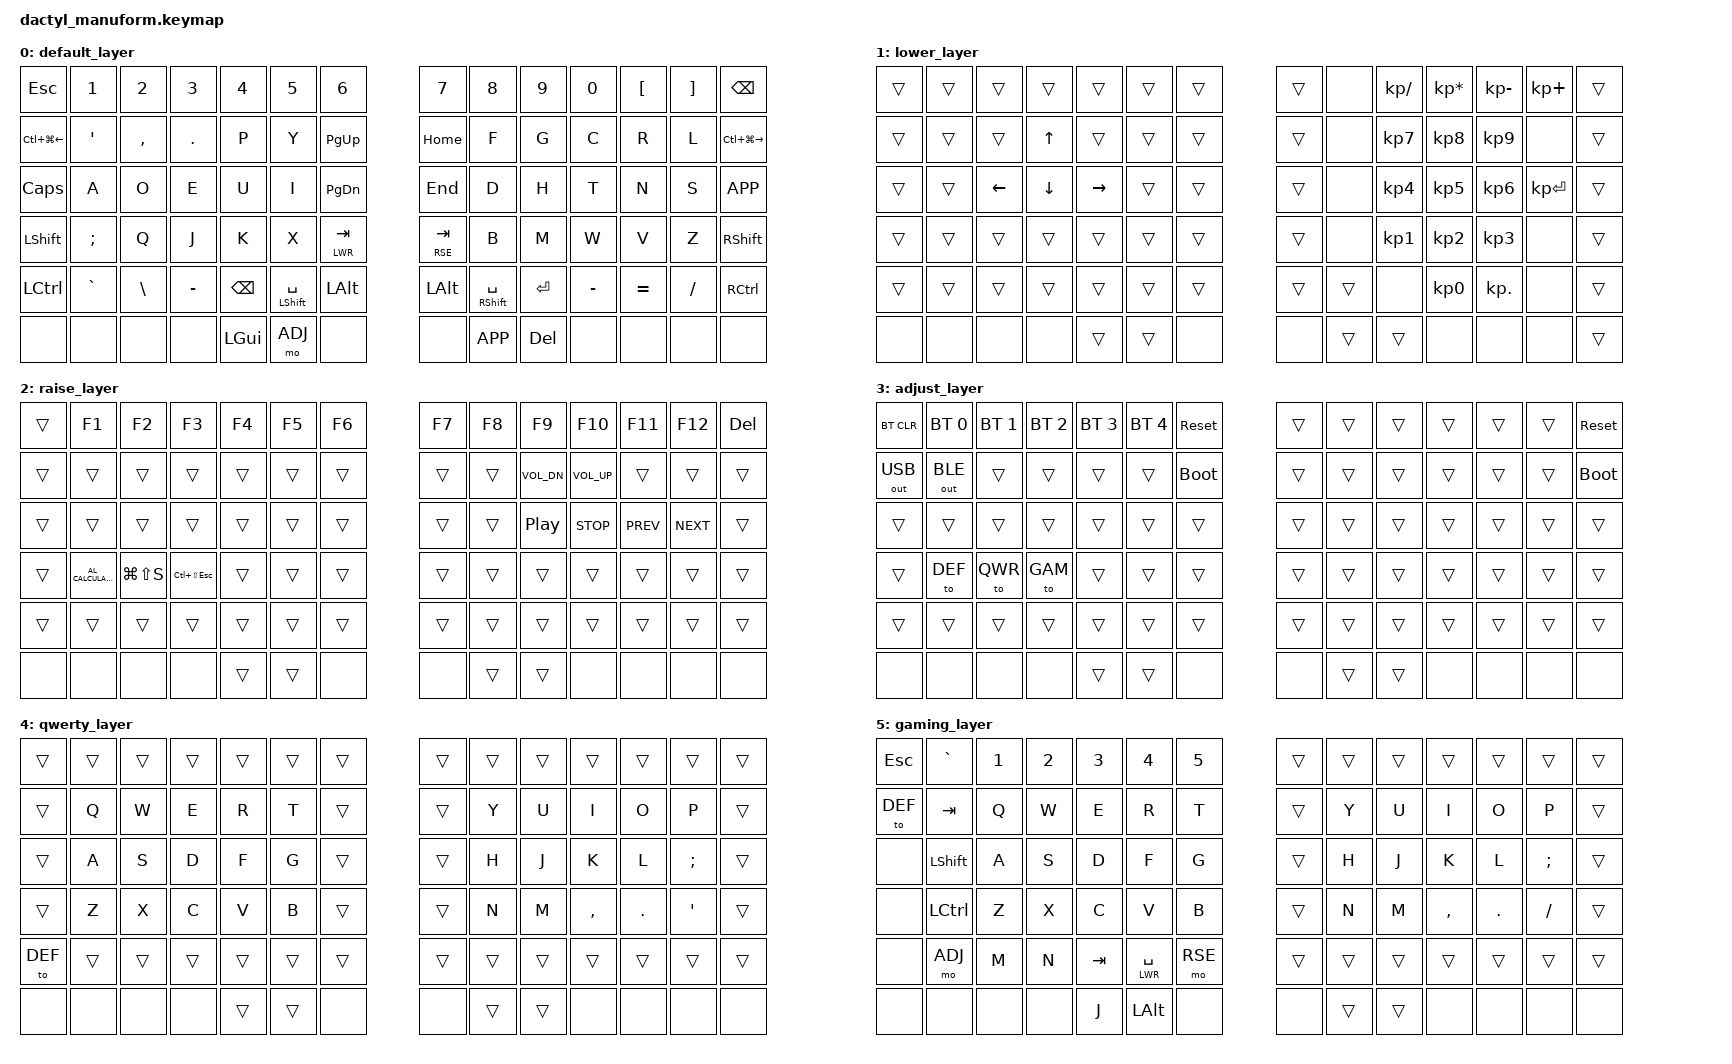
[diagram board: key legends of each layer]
/*
 * Copyright (c) 2024 The ZMK Contributors
 * SPDX-License-Identifier: MIT
 *
 * Dactyl Manuform 6x7 wireless - user-defined keymap.
 *
 * Matrix: 6 rows x 14 cols (left cols 0..6, right cols 7..13).
 * Row 5 only has switches at inner cols 4, 5, 8, 9.
 * Physical key counts per column: L=5,5,5,5,6,6,5  R=5,6,6,5,5,5,5.
 */

#include <behaviors.dtsi>
#include <dt-bindings/zmk/keys.h>
#include <dt-bindings/zmk/bt.h>
#include <dt-bindings/zmk/outputs.h>

#define DEF 0
#define LWR 1
#define RSE 2
#define ADJ 3
#define QWR 4
#define GAM 5

// Convenience macros for chord shortcuts
#define VDESK_L  LC(LG(LEFT))    // Ctrl+Win+Left   (prev virtual desktop)
#define VDESK_R  LC(LG(RIGHT))   // Ctrl+Win+Right  (next virtual desktop)
#define SNIP     LG(LS(S))       // Win+Shift+S     (snipping tool)
#define TASKMGR  LC(LS(ESC))     // Ctrl+Shift+Esc  (task manager)
#define SAVE     LC(S)           // Ctrl+S          (generic save)

/ {
    behaviors {
        // Thumb shift+tab. balanced flavor: hold registers if another key is
        // pressed AND released before tapping-term; otherwise tap. Tuned for
        // thumb use where chords are deliberate.
        tshft: thumb_shift {
            compatible = "zmk,behavior-hold-tap";
            #binding-cells = <2>;
            tapping-term-ms = <150>;
            quick-tap-ms = <100>;
            flavor = "balanced";
            bindings = <&kp>, <&kp>;
        };
    };
};

/ {
    keymap {
        compatible = "zmk,keymap";

        // ============================================================
        //  DEFAULT (Dvorak)
        //  R0 |   ESC   |  1  |  2  |  3  |  4  |     5     |   6     ||    7    |     8     |   9   |  0  |  [  |  ]  |  BSPC   |
        //  R1 | VDESK_L |  '  |  ,  |  .  |  P  |     Y     | PG_UP   ||   HOME  |     F     |   G   |  C  |  R  |  L  | VDESK_R |
        //  R2 |  CAPS   |  A  |  O  |  E  |  U  |     I     | PG_DN   ||   END   |     D     |   H   |  T  |  N  |  S  |  K_APP  |
        //  R3 |  LSHFT  |  ;  |  Q  |  J  |  K  |     X     | LWR/TAB || RSE/TAB |     B     |   M   |  W  |  V  |  Z  |  RSHFT  |
        //  R4 |  LCTRL  | GRV |  \  |  -  |BSPC | LSHFT/SPC |  ALT    ||   ALT   | RSHFT/SPC |  RET  |  -  |  =  |  /  |  RCTRL  |
        //  R5 |    -    |  -  |  -  |  -  | GUI |    ADJ    |   -     ||    -    |   K_APP   |  DEL  |  -  |  -  |  -  |    -    |
        // ============================================================
        default_layer {
            bindings = <
&kp ESC      &kp N1    &kp N2    &kp N3    &kp N4    &kp N5    &kp N6                  &kp N7            &kp N8           &kp N9    &kp N0     &kp LBKT   &kp RBKT   &kp BSPC
&kp VDESK_L  &kp SQT   &kp COMMA &kp DOT   &kp P     &kp Y     &kp PG_UP               &kp HOME          &kp F            &kp G     &kp C      &kp R      &kp L      &kp VDESK_R
&kp CAPS     &kp A     &kp O     &kp E     &kp U     &kp I     &kp PG_DN               &kp END           &kp D            &kp H     &kp T      &kp N      &kp S      &kp K_APP
&kp LSHFT    &kp SEMI  &kp Q     &kp J     &kp K     &kp X     &lt LWR TAB             &lt RSE TAB       &kp B            &kp M     &kp W      &kp V      &kp Z      &kp RSHFT
&kp LCTRL    &kp GRAVE &kp BSLH  &kp MINUS &kp BSPC  &tshft LSHFT SPACE &kp LALT  &kp LALT          &tshft RSHFT SPACE &kp RET   &kp MINUS  &kp EQUAL  &kp FSLH   &kp RCTRL
&none        &none     &none     &none     &kp LGUI  &mo ADJ   &none                   &none             &kp K_APP        &kp DEL   &none      &none      &none      &none
            >;
        };

        // ============================================================
        //  LOWER  -  numpad on the right, arrow island on the left
        //  R0 |  -  |  -  |  -  |  -  |  -  |  -  |  -  ||  -  |NONE | KP/ | KP* | KP- | KP+ |  -  |
        //  R1 |  -  |  -  |  -  | UP  |  -  |  -  |  -  ||  -  |NONE | KP7 | KP8 | KP9 |NONE |NONE |
        //  R2 |  -  |  -  |LEFT |DOWN |RIGHT|  -  |  -  ||  -  |NONE | KP4 | KP5 | KP6 |NONE | ENT |
        //  R3 |  -  |  -  |  -  |  -  |  -  |  -  |  -  ||  -  |NONE | KP1 | KP2 | KP3 |NONE |NONE |
        //  R4 |  -  |  -  |  -  |  -  |  -  |  -  |  -  ||  -  |  -  |NONE | KP0 | KP. |NONE |NONE |
        //  R5 |     |     |     |     |  -  |  -  |     ||     |  -  |  -  |     |     |     |     |
        // ============================================================
        lower_layer {
            bindings = <
&trans  &trans  &trans   &trans     &trans     &trans  &trans              &trans  &none  &kp KP_SLASH &kp KP_ASTERISK &kp KP_MINUS &kp KP_PLUS  &trans
&trans  &trans  &trans   &kp UP     &trans     &trans  &trans              &trans  &none  &kp KP_N7    &kp KP_N8       &kp KP_N9    &none        &trans
&trans  &trans  &kp LEFT &kp DOWN   &kp RIGHT  &trans  &trans              &trans  &none  &kp KP_N4    &kp KP_N5       &kp KP_N6    &kp KP_ENTER &trans
&trans  &trans  &trans   &trans     &trans     &trans  &trans              &trans  &none  &kp KP_N1    &kp KP_N2       &kp KP_N3    &none        &trans
&trans  &trans  &trans   &trans     &trans     &trans  &trans              &trans  &trans &none        &kp KP_N0       &kp KP_DOT   &none        &trans
&none   &none   &none    &none      &trans     &trans  &none               &none   &trans &trans       &none           &none        &none        &trans
            >;
        };

        // ============================================================
        //  RAISE  -  function keys, system shortcuts, media
        //  R0 |  -  | F1  | F2  | F3  | F4  | F5  | F6  ||  F7 | F8  | F9  | F10  |  F11   |  F12   |  DEL   |
        //  R1 |  -  |  -  |  -  |  -  |  -  |  -  |  -  ||  -  |  -  |VOLD | VOLU |   -    |    -   |    -   |
        //  R2 |  -  |  -  |  -  |  -  |  -  |  -  |  -  ||  -  |  -  |C_PP |C_STOP|C_PREV  |C_NEXT  |    -   |
        //  R3 |  -  |CALC |SNIP |TMGR |  -  |  -  |  -  ||  -  |  -  |  -  |   -  |    -   |    -   |    -   |
        //  R4 |  -  |  -  |  -  |  -  |  -  |  -  |  -  ||  -  |  -  |  -  |   -  |    -   |    -   |    -   |
        //  R5 |     |     |     |     |  -  |  -  |     ||     |  -  |  -  |      |        |        |    -   |
        // ============================================================
        raise_layer {
            bindings = <
&trans  &kp F1               &kp F2     &kp F3       &kp F4   &kp F5  &kp F6              &kp F7  &kp F8  &kp F9       &kp F10        &kp F11        &kp F12      &kp DEL
&trans  &trans               &trans     &trans       &trans   &trans  &trans              &trans  &trans  &kp C_VOL_DN &kp C_VOL_UP   &trans         &trans       &trans
&trans  &trans               &trans     &trans       &trans   &trans  &trans              &trans  &trans  &kp C_PP     &kp C_STOP     &kp C_PREV     &kp C_NEXT   &trans
&trans  &kp C_AL_CALCULATOR  &kp SNIP   &kp TASKMGR  &trans   &trans  &trans              &trans  &trans  &trans       &trans         &trans         &trans       &trans
&trans  &trans               &trans     &trans       &trans   &trans  &trans              &trans  &trans  &trans       &trans         &trans         &trans       &trans
&none   &none                &none      &none        &trans   &trans  &none               &none   &trans  &trans       &none          &none          &none        &none
            >;
        };

        // ============================================================
        //  ADJUST  -  Bluetooth / output / firmware / layout toggle
        //  R0 |BT_CLR| BT0 | BT1 | BT2 | BT3 | BT4 |RESET ||  -  |  -  |  -  |  -  |  -  |  -  | RESET |
        //  R1 |USB   | BLE |  -  |  -  |  -  |  -  |BOOT  ||  -  |  -  |  -  |  -  |  -  |  -  | BOOT  |
        //  R2 |  -   |  -  |  -  |  -  |  -  |  -  |  -   ||  -  |  -  |  -  |  -  |  -  |  -  |  -    |
        //  R3 |  -   | DVK | QWR | GAM |  -  |  -  |  -   ||  -  |  -  |  -  |  -  |  -  |  -  |  -    |
        //  rest = trans
        // ============================================================
        adjust_layer {
            bindings = <
&bt BT_CLR    &bt BT_SEL 0  &bt BT_SEL 1  &bt BT_SEL 2  &bt BT_SEL 3  &bt BT_SEL 4  &sys_reset      &trans   &trans   &trans  &trans  &trans  &trans  &sys_reset
&out OUT_USB  &out OUT_BLE  &trans        &trans        &trans        &trans        &bootloader     &trans   &trans   &trans  &trans  &trans  &trans  &bootloader
&trans        &trans        &trans        &trans        &trans        &trans        &trans          &trans   &trans   &trans  &trans  &trans  &trans  &trans
&trans        &to DEF       &to QWR       &to GAM       &trans        &trans        &trans          &trans   &trans   &trans  &trans  &trans  &trans  &trans
&trans        &trans        &trans        &trans        &trans        &trans        &trans          &trans   &trans   &trans  &trans  &trans  &trans  &trans
&none         &none         &none         &none         &trans        &trans        &none           &none    &trans   &trans  &none   &none   &none   &none
            >;
        };

        // ============================================================
        //  QWERTY  -  alpha keys only; everything else falls through to Dvorak
        //  R0 |  -  |  -  |  -  |  -  |  -  |  -  |  -  ||  -  |  -  |  -  |  -  |  -  |  -  |  -  |
        //  R1 |  -  |  Q  |  W  |  E  |  R  |  T  |  -  ||  -  |  Y  |  U  |  I  |  O  |  P  |  -  |
        //  R2 |  -  |  A  |  S  |  D  |  F  |  G  |  -  ||  -  |  H  |  J  |  K  |  L  |  ;  |  -  |
        //  R3 |  -  |  Z  |  X  |  C  |  V  |  B  |  -  ||  -  |  N  |  M  |  ,  |  .  |  '  |  -  |
        //  R4 |  -  |  -  |  -  |  -  |  -  |  -  |  -  ||  -  |  -  |  -  |  -  |  -  |  -  |  -  |
        //  R5 |     |     |     |     |  -  |  -  |     ||     |  -  |  -  |     |     |     |     |
        // ============================================================
        qwerty_layer {
            bindings = <
&trans    &trans    &trans    &trans    &trans    &trans    &trans              &trans      &trans    &trans    &trans    &trans    &trans    &trans
&trans    &kp Q     &kp W     &kp E     &kp R     &kp T     &trans              &trans      &kp Y     &kp U     &kp I     &kp O     &kp P     &trans
&trans    &kp A     &kp S     &kp D     &kp F     &kp G     &trans              &trans      &kp H     &kp J     &kp K     &kp L     &kp SEMI  &trans
&trans    &kp Z     &kp X     &kp C     &kp V     &kp B     &trans              &trans      &kp N     &kp M     &kp COMMA &kp DOT   &kp SQT   &trans
&to DEF   &trans    &trans    &trans    &trans    &trans    &trans              &trans      &trans    &trans    &trans    &trans    &trans    &trans
&none     &none     &none     &none     &trans    &trans    &none               &none       &trans    &trans    &none     &none     &none     &none
            >;
        };

        // ============================================================
        //  GAMING  -  Azeron-style left-hand cluster. Right half = QWERTY alphas.
        //  WASD diamond: W=R1C3, A=R2C2, S=R2C3, D=R2C4.
        //  Number row shifted right so 1..5 sit directly above Q W E R T.
        //  R0 | ESC  | GRV |  1  |  2  |  3  |    4    |  5   ||  -  |  -  |  -  |  -  |  -  |  -  |  -  |
        //  R1 |to DEF| TAB |  Q  |  W  |  E  |    R    |  T   ||  -  |  Y  |  U  |  I  |  O  |  P  |  -  |
        //  R2 |  -   |LSHFT|  A  |  S  |  D  |    F    |  G   ||  -  |  H  |  J  |  K  |  L  |  ;  |  -  |
        //  R3 |  -   |LCTRL|  Z  |  X  |  C  |    V    |  B   ||  -  |  N  |  M  |  ,  |  .  |  /  |  -  |
        //  R4 |  -   | ADJ |  M  |  N  | TAB | LWR/SPC | RSE  ||  -  |  -  |  -  |  -  |  -  |  -  |  -  |
        //  R5 |  -   |  -  |  -  |  -  |  J  |   ALT   |  -   ||  -  |  -  |  -  |  -  |  -  |  -  |  -  |
        // ============================================================
        gaming_layer {
            bindings = <
&kp ESC   &kp GRAVE &kp N1    &kp N2    &kp N3    &kp N4    &kp N5              &trans      &trans    &trans    &trans    &trans    &trans    &trans
&to DEF   &kp TAB   &kp Q     &kp W     &kp E     &kp R     &kp T               &trans      &kp Y     &kp U     &kp I     &kp O     &kp P     &trans
&none     &kp LSHFT &kp A     &kp S     &kp D     &kp F     &kp G               &trans      &kp H     &kp J     &kp K     &kp L     &kp SEMI  &trans
&none     &kp LCTRL &kp Z     &kp X     &kp C     &kp V     &kp B               &trans      &kp N     &kp M     &kp COMMA &kp DOT   &kp FSLH  &trans
&none     &mo ADJ   &kp M     &kp N     &kp TAB   &lt LWR SPACE &mo RSE         &trans      &trans    &trans    &trans    &trans    &trans    &trans
&none     &none     &none     &none     &kp J     &kp LALT  &none               &none       &trans    &trans    &none     &none     &none     &none
            >;
        };
    };
};
